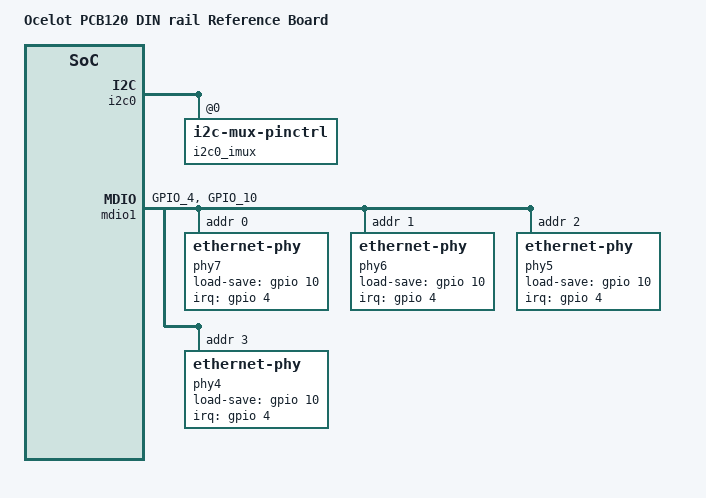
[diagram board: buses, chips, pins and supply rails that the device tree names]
// SPDX-License-Identifier: (GPL-2.0 OR MIT)
/* Copyright (c) 2017 Microsemi Corporation */

/dts-v1/;

#include <dt-bindings/gpio/gpio.h>
#include <dt-bindings/interrupt-controller/irq.h>
#include <dt-bindings/phy/phy-ocelot-serdes.h>
#include "ocelot_common.dtsi"

/ {
	model = "Ocelot PCB120 DIN rail Reference Board";
	compatible = "mscc,ocelot-pcb120", "mscc,ocelot";

	aliases {
	    i2c0   = &i2c0;
	    i2c108 = &i2c108;
	    i2c109 = &i2c109;
	    i2c201 = &i2c201;
	};
};

&gpio {
	i2c_pins: i2c-pins {
		pins = "GPIO_16";
		function = "twi";
	};
	i2cmux_pins_i: i2cmux-pins-i {
		pins = "GPIO_20", "GPIO_21", "GPIO_17";
		function = "twi_scl_m";
		output-low;
	};
	i2cmux_0: i2cmux-0 {
		pins = "GPIO_20";
		function = "twi_scl_m";
		output-high;
	};
	i2cmux_1: i2cmux-1 {
		pins = "GPIO_21";
		function = "twi_scl_m";
		output-high;
	};
	i2cmux_2: i2cmux-2 {
		pins = "GPIO_17";
		function = "twi_scl_m";
		output-high;
	};
	phy_int_pins: phy-int-pins {
		pins = "GPIO_4";
		function = "gpio";
	};

	phy_load_save_pins: phy-load-save-pins {
		pins = "GPIO_10";
		function = "ptp2";
	};
};

&ahb {
	i2c0_imux: i2c0-imux@0 {
		compatible = "i2c-mux-pinctrl";
		#address-cells = <1>;
		#size-cells = <0>;
		i2c-parent = <&i2c0>;
		pinctrl-names =
			"i2c108", "i2c109", "i2c201", "idle";
		pinctrl-0 = <&i2cmux_0>;
		pinctrl-1 = <&i2cmux_1>;
		pinctrl-2 = <&i2cmux_2>;
		pinctrl-3 = <&i2cmux_pins_i>;
		i2c108: i2c_sfp1 {
			reg = <0>;
			#address-cells = <1>;
			#size-cells = <0>;
		};
		i2c109: i2c_sfp2 {
			reg = <1>;
			#address-cells = <1>;
			#size-cells = <0>;
		};
		i2c201: i2c_pd69xxx {
			reg = <0x2>;
			#address-cells = <1>;
			#size-cells = <0>;
		};
	};
};

&mdio1 {
	status = "okay";
	pinctrl-names = "default";
	pinctrl-0 = <&miim1_pins>, <&phy_int_pins>, <&phy_load_save_pins>;

	phy7: ethernet-phy@0 {
		reg = <0>;
		interrupts = <4 IRQ_TYPE_LEVEL_HIGH>;
		interrupt-parent = <&gpio>;
		load-save-gpios = <&gpio 10 GPIO_ACTIVE_HIGH>;
	};
	phy6: ethernet-phy@1 {
		reg = <1>;
		interrupts = <4 IRQ_TYPE_LEVEL_HIGH>;
		interrupt-parent = <&gpio>;
		load-save-gpios = <&gpio 10 GPIO_ACTIVE_HIGH>;
	};
	phy5: ethernet-phy@2 {
		reg = <2>;
		interrupts = <4 IRQ_TYPE_LEVEL_HIGH>;
		interrupt-parent = <&gpio>;
		load-save-gpios = <&gpio 10 GPIO_ACTIVE_HIGH>;
	};
	phy4: ethernet-phy@3 {
		reg = <3>;
		interrupts = <4 IRQ_TYPE_LEVEL_HIGH>;
		interrupt-parent = <&gpio>;
		load-save-gpios = <&gpio 10 GPIO_ACTIVE_HIGH>;
	};
};

&port0 {
	status = "okay";
	phy-handle = <&phy0>;
	phy-mode = "internal";
};

&port1 {
	status = "okay";
	phy-handle = <&phy1>;
	phy-mode = "internal";
};

&port2 {
	status = "okay";
	phy-handle = <&phy2>;
	phy-mode = "internal";
};

&port3 {
	status = "okay";
	phy-handle = <&phy3>;
	phy-mode = "internal";
};

&port4 {
	status = "okay";
	phy-handle = <&phy7>;
	phy-mode = "sgmii";
	phys = <&serdes 4 SERDES1G(2)>;
};

&port5 {
	status = "okay";
	phy-handle = <&phy4>;
	phy-mode = "sgmii";
	phys = <&serdes 5 SERDES1G(5)>;
};

&port6 {
	status = "okay";
	phy-handle = <&phy6>;
	phy-mode = "sgmii";
	phys = <&serdes 6 SERDES1G(3)>;
};

&port9 {
	status = "okay";
	phy-handle = <&phy5>;
	phy-mode = "sgmii";
	phys = <&serdes 9 SERDES1G(4)>;
};
